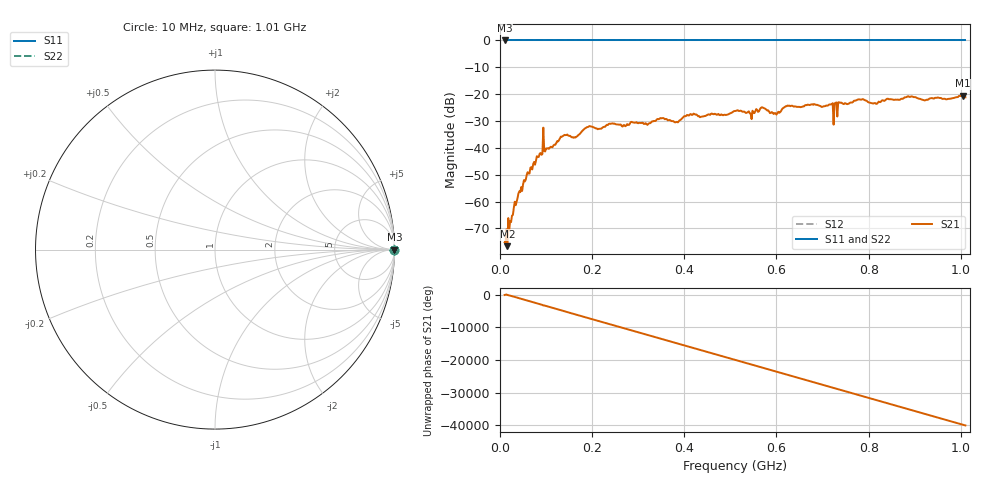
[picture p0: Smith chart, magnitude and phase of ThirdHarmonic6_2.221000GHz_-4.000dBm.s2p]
! 8/17/2025 2:26:57 AM
! C:\ANRITSUVNA\TEMP\TEMP.S2P
! CHANNEL.1
! TR.MEASUREMENT
! RAW.DATA
! RF.CORRECTION.OFF
! AVERAGING.OFF
! IF.BANDWIDTH: 5KHZ
! SWEEPTYPE:  FREQ.SWEEP(Linear)
! Reference Plane Port Info
! PORT:  PORT1  PORT2
! DISTANCE:  0  m  0  m
! TIME:  0  s  0  s
! PHASE.OFFSET:  0  deg.  0  deg.
! LOSS:  0  dB  0  dB
! REF.LOSS:  0  dB  0  dB
! REF.FREQ:  0  Hz  0  Hz
! Power Info
! POWER:  -20  dBm  -20  dBm
! EFF.POWER:  -20  dBm  -20  dBm
! SOURCE.ATTEN:  0  dB  0  dB
! TEST.ATTEN:  0  dB  0  dB
# GHZ S RI R 50.0
! FREQ.GHZ  S11RE  S11IM  S21RE  S21IM  S12RE  S12IM  S22RE  S22IM
!; PortSelection: Port_12
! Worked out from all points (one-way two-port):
!   501 points, 10 MHz to 1.01 GHz, reference 50 ohm
!   highest |S21| = -20.55 dB at 1.004 GHz (marker M1); lowest = -76.6 dB at 16 MHz (marker M2)
!   lowest |S11| = 0.0 dB at 10 MHz (marker M3)
!   |S11| at or under -10 dB: nowhere
!   |S22| runs from 0.0 to 0.0 dB; largest |S21 - S12| = 1.1
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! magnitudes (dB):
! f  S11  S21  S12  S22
! 10 MHz  0.0  -75.2  0.0  0.0
! 16 MHz  0.0  -76.6  0.0  0.0
! 42 MHz  0.0  -56.2  0.0  0.0
! 88 MHz  0.0  -41.9  0.0  0.0
! 90 MHz  0.0  -42.6  0.0  0.0
! 136 MHz  0.0  -35.7  0.0  0.0
! 178 MHz  0.0  -33.8  0.0  0.0
! 344 MHz  0.0  -29.3  0.0  0.0
! 382 MHz  0.0  -30.4  0.0  0.0
! 410 MHz  0.0  -28.0  0.0  0.0
! 510 MHz  0.0  -26.3  0.0  0.0
! 548 MHz  0.0  -26.2  0.0  0.0
! 570 MHz  0.0  -25.0  0.0  0.0
! 598 MHz  0.0  -27.1  0.0  0.0
! 624 MHz  0.0  -24.2  0.0  0.0
! 678 MHz  0.0  -23.8  0.0  0.0
! 718 MHz  0.0  -23.9  0.0  0.0
! 728 MHz  0.0  -23.3  0.0  0.0
! 738 MHz  0.0  -23.2  0.0  0.0
! 844 MHz  0.0  -21.9  0.0  0.0
! 1.004 GHz  0.0  -20.5  0.0  0.0
! 1.01 GHz  0.0  -21.2  0.0  0.0
